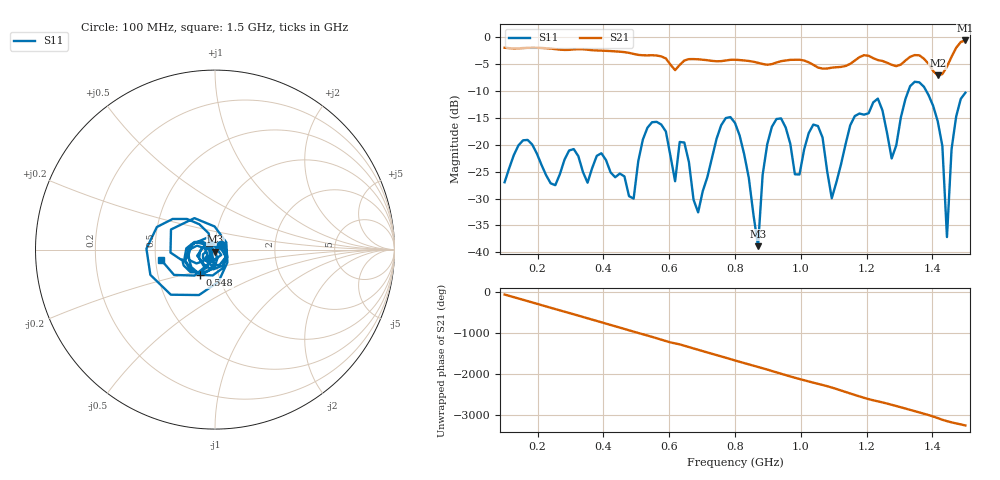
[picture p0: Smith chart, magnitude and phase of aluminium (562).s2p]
! NanoVNA-App
! Date: 2025-09-25 14:59:39
! Start: 100MHz Stop: 1,5GHz Points: 101
! S-Parameter data: F S11 S21 S12 S22
# Hz S RI R 50
!  Frequency  S11_Real  S11_Imag  S21_Real  S21_Imag  S12_Real  S12_Imag  S22_Real  S22_Imag
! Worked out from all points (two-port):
!   101 points, 100 MHz to 1.5 GHz, reference 50 ohm
!   highest |S21| = -0.56 dB at 1.5 GHz (marker M1); lowest = -7.1 dB at 1.416 GHz (marker M2)
!   |S21| within 3 dB of the highest: start of sweep to 577.1 MHz; 1.458 GHz to end of sweep (the widest 2 of 4)
!   lowest |S11| = -38.9 dB at 870 MHz (marker M3), VSWR 1.02, Z = 50.2 - j1.13 ohm
!   |S11| at or under -10 dB: start of sweep to 1.326 GHz; 1.381 GHz to end of sweep
!   S12 and S22 are empty: the file has one direction only
!   S11 on the Smith chart (normalised r, x): 100 MHz: 1.07, +0.06; 548 MHz: 0.82, -0.24; 1.5 GHz: 0.54, -0.07
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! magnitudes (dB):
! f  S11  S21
! 100 MHz  -27.0  -1.9
! 156 MHz  -19.2  -2.0
! 338 MHz  -25.0  -2.2
! 492 MHz  -30.0  -3.1
! 548 MHz  -15.8  -3.3
! 576 MHz  -16.2  -3.5
! 618 MHz  -26.8  -6.1
! 646 MHz  -19.6  -4.3
! 688 MHz  -32.6  -4.1
! 800 MHz  -15.9  -4.2
! 870 MHz  -38.9  -4.7
! 912 MHz  -16.6  -5.0
! 996 MHz  -25.5  -4.1
! 1.038 GHz  -16.2  -5.1
! 1.094 GHz  -29.9  -5.6
! 1.234 GHz  -11.4  -4.2
! 1.276 GHz  -22.5  -5.1
! 1.346 GHz  -8.3  -3.3
! 1.416 GHz  -15.6  -7.1
! 1.444 GHz  -37.2  -5.4
! 1.458 GHz  -20.8  -3.6
! 1.5 GHz  -10.3  -0.6
